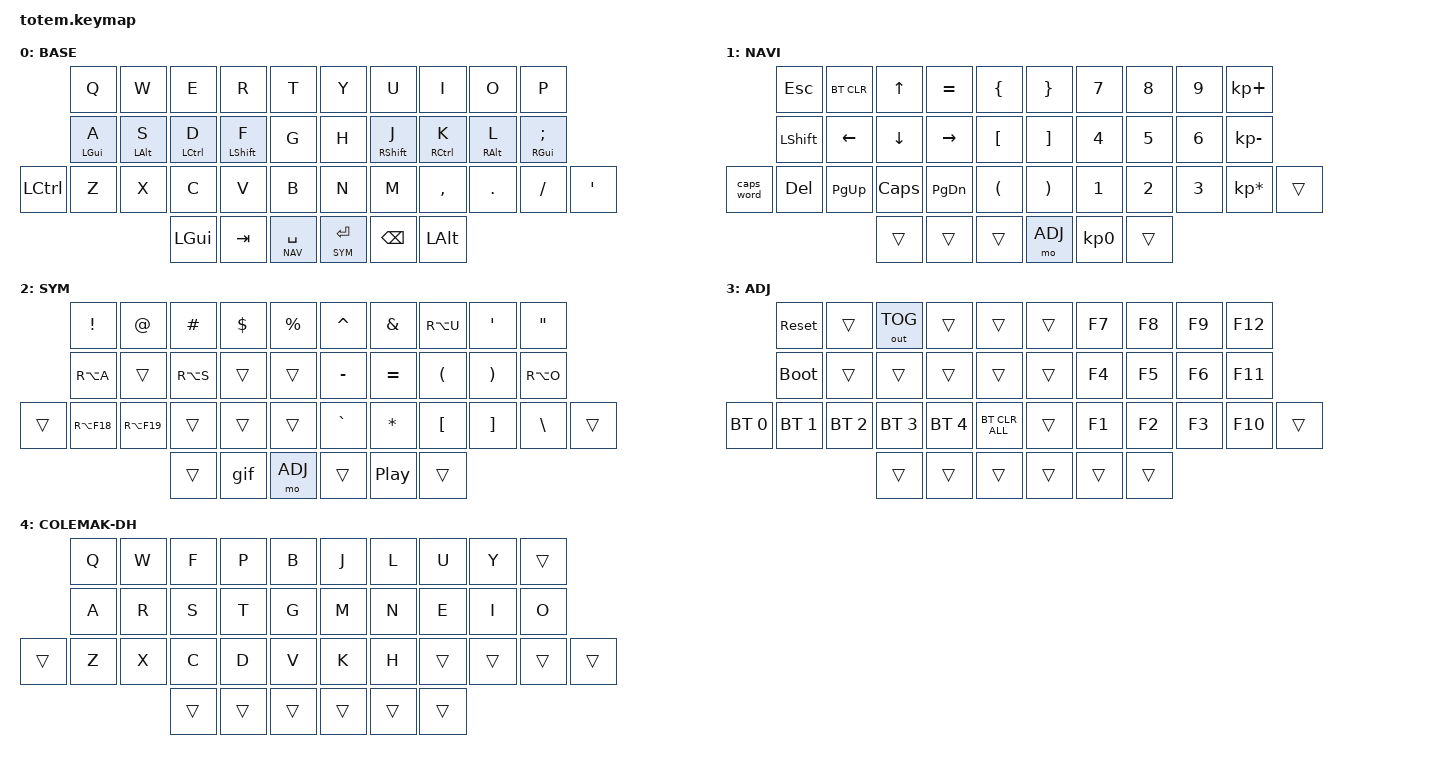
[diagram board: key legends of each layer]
//
//                                                        ▀▀▀▀▀     ▀▀▀▀▀          ▀▀█▀▀
//                                                        ▄▀▀▀▄  ▄  ▄▀▀▀▄  ▄  ▄▀▀▀▄  █  ▄▀▀▀▄
//                                                        █   █  █  █   █  █  █   █  █  █   █
//                                                         ▀▀▀   █   ▀▀▀   █   ▀▀▀   ▀   ▀▀▀
//                                                               █      ▄▄▄█▄▄▄    █   █  
//                                                               ▀      █  █  █     █▄█
//                                                             ▀▀▀▀▀    █  █  █      ▀
//                                                                      ▀  ▀  ▀
//
// ▄▄▄▄▄▄▄▄▄▄▄▄▄▄▄▄▄▄▄▄▄▄▄▄▄▄▄▄▄▄▄▄▄▄▄▄▄▄▄▄▄▄▄▄▄▄▄▄▄▄▄▄▄▄▄▄▄▄▄▄▄▄▄▄▄▄▄▄▄▄▄▄▄▄▄▄▄▄▄▄▄▄▄▄▄▄▄▄▄▄▄▄▄▄▄▄▄▄▄▄▄▄▄▄▄▄▄▄▄▄▄▄▄▄▄▄▄▄▄▄▄▄▄▄▄▄▄▄▄▄▄▄▄▄▄▄▄▄▄▄▄▄▄▄▄▄▄▄▄

#include <behaviors.dtsi>
#include <dt-bindings/zmk/bt.h>
#include <dt-bindings/zmk/keys.h>
#include <dt-bindings/zmk/outputs.h>

#define BASE 0
#define NAV  1
#define SYM  2
#define ADJ  3

&mt {
    quick-tap-ms = <100>;
    global-quick-tap;
    flavor = "tap-preferred";
    tapping-term-ms = <170>;
};

/ {
    combos {
        compatible = "zmk,combos";

        combo_esc {
            timeout-ms = <50>;
            key-positions = <0 1>;
            bindings = <&kp ESC>;
        };
    };

    macros {
        gif: gif {
            label = "giphy";
            compatible = "zmk,behavior-macro";
            #binding-cells = <0>;
            bindings =
                <&macro_press>,
                <&kp LSHFT>,
                <&macro_tap>,
                <&kp N2>,
                <&macro_release>,
                <&kp LSHFT>,
                <&macro_tap>,
                <&kp G &kp I &kp F>;
        };
    };

    keymap {
        compatible = "zmk,keymap";

        // ▄▄▄▄▄▄▄▄▄▄▄▄▄▄▄▄▄▄▄▄▄▄▄▄▄▄▄▄▄▄▄▄▄▄▄▄▄▄▄▄▄▄▄▄▄▄▄▄▄▄▄▄▄▄▄▄▄▄▄▄▄▄▄▄▄▄▄▄▄▄▄▄▄▄▄▄▄▄▄▄▄▄▄▄▄▄▄▄▄▄▄▄▄▄▄▄▄▄▄▄▄▄▄▄▄▄▄▄▄▄▄▄▄▄▄▄▄▄▄▄▄▄▄▄▄▄▄▄▄▄▄▄▄▄▄▄▄▄▄▄▄▄▄▄▄▄▄▄▄

        base_layer {
            // ┏━━━━━━━━━━━━━━━━━━━━━━━━━━━━━━━━━━━━━━━┓

            label = "BASE";

            // ┗━━━━━━━━━━━━━━━━━━━━━━━━━━━━━━━━━━━━━━━┛
            //             ┏━━━━━━━━━━━┳━━━━━━━━━━━┳━━━━━━━━━━━┳━━━━━━━━━━━┳━━━━━━━━━━━┓   ┏━━━━━━━━━━━┳━━━━━━━━━━━┳━━━━━━━━━━━┳━━━━━━━━━━━┳━━━━━━━━━━━┓
            //             ┃     Q     ┃     W     ┃     F     ┃     P     ┃     G     ┃   ┃     J     ┃     L     ┃     U     ┃     Y     ┃     ;     ┃
            //             ┣━━━━━━━━━━━╋━━━━━━━━━━━╋━━━━━━━━━━━╋━━━━━━━━━━━╋━━━━━━━━━━━┫   ┣━━━━━━━━━━━╋━━━━━━━━━━━╋━━━━━━━━━━━╋━━━━━━━━━━━╋━━━━━━━━━━━┫
            //             ┃     A     ┃     R     ┃     S     ┃     T     ┃     D     ┃   ┃     H     ┃     N     ┃     E     ┃     I     ┃     O     ┃
            // ┏━━━━━━━━━━━╋━━━━━━━━━━━╋━━━━━━━━━━━╋━━━━━━━━━━━╋━━━━━━━━━━━╋━━━━━━━━━━━┫   ┣━━━━━━━━━━━╋━━━━━━━━━━━╋━━━━━━━━━━━╋━━━━━━━━━━━╋━━━━━━━━━━━╋━━━━━━━━━━━┓
            // ┃           ┃     Z     ┃     X     ┃     C     ┃     V     ┃     B     ┃   ┃     K     ┃     M     ┃     ,     ┃     .     ┃     /     ┃           ┃
            // ┗━━━━━━━━━━━┻━━━━━━━━━━━┻━━━━━━━━━━━╋━━━━━━━━━━━╋━━━━━━━━━━━╋━━━━━━━━━━━┫   ┣━━━━━━━━━━━╋━━━━━━━━━━━╋━━━━━━━━━━━╋━━━━━━━━━━━┻━━━━━━━━━━━┻━━━━━━━━━━━┛
            //                                     ┃           ┃    TAB    ┃    SPC    ┃   ┃   ENTER   ┃   BSPC    ┃           ┃
            //                                     ┗━━━━━━━━━━━┻━━━━━━━━━━━┻━━━━━━━━━━━┛   ┗━━━━━━━━━━━┻━━━━━━━━━━━┻━━━━━━━━━━━┛

            bindings = <
                  &kp Q       &kp W       &kp E         &kp R        &kp T            &kp Y        &kp U        &kp I         &kp O       &kp P
                  &mt LGUI A  &mt LALT S  &mt LCTRL D   &mt LSHFT F  &kp G            &kp H        &mt RSHFT J  &mt RCTRL K   &mt RALT L  &mt RGUI SEMI
&kp LEFT_CONTROL  &kp Z       &kp X       &kp C         &kp V        &kp B            &kp N        &kp M        &kp COMMA     &kp DOT     &kp SLASH      &kp APOS
                                          &kp LEFT_GUI  &kp TAB      &lt NAV SPACE    &lt SYM RET  &kp BSPC     &kp LEFT_ALT
            >;
        };

        // ▄▄▄▄▄▄▄▄▄▄▄▄▄▄▄▄▄▄▄▄▄▄▄▄▄▄▄▄▄▄▄▄▄▄▄▄▄▄▄▄▄▄▄▄▄▄▄▄▄▄▄▄▄▄▄▄▄▄▄▄▄▄▄▄▄▄▄▄▄▄▄▄▄▄▄▄▄▄▄▄▄▄▄▄▄▄▄▄▄▄▄▄▄▄▄▄▄▄▄▄▄▄▄▄▄▄▄▄▄▄▄▄▄▄▄▄▄▄▄▄▄▄▄▄▄▄▄▄▄▄▄▄▄▄▄▄▄▄▄▄▄▄▄▄▄▄▄▄▄

        nav_layer {
            // ┏━━━━━━━━━━━━━━━━━━━━━━━━━━━━━━━━━━━━━━━┓

            label = "NAVI";

            // ┗━━━━━━━━━━━━━━━━━━━━━━━━━━━━━━━━━━━━━━━┛
            //             ┏━━━━━━━━━━━┳━━━━━━━━━━━┳━━━━━━━━━━━┳━━━━━━━━━━━┳━━━━━━━━━━━┓   ┏━━━━━━━━━━━┳━━━━━━━━━━━┳━━━━━━━━━━━┳━━━━━━━━━━━┳━━━━━━━━━━━┓
            //             ┃           ┃           ┃     UP    ┃           ┃     {     ┃   ┃     }     ┃     7     ┃     8     ┃     9     ┃     +     ┃
            //             ┣━━━━━━━━━━━╋━━━━━━━━━━━╋━━━━━━━━━━━╋━━━━━━━━━━━╋━━━━━━━━━━━┫   ┣━━━━━━━━━━━╋━━━━━━━━━━━╋━━━━━━━━━━━╋━━━━━━━━━━━╋━━━━━━━━━━━┫
            //             ┃   SHIFT   ┃   LEFT    ┃    DOWN   ┃   RIGHT   ┃     [     ┃   ┃     ]     ┃     4     ┃     5     ┃     6     ┃     -     ┃
            // ┏━━━━━━━━━━━╋━━━━━━━━━━━╋━━━━━━━━━━━╋━━━━━━━━━━━╋━━━━━━━━━━━╋━━━━━━━━━━━┫   ┣━━━━━━━━━━━╋━━━━━━━━━━━╋━━━━━━━━━━━╋━━━━━━━━━━━╋━━━━━━━━━━━╋━━━━━━━━━━━┓
            // ┃           ┃           ┃   P UP    ┃  C LOCK   ┃  P DOWN   ┃     (     ┃   ┃     )     ┃     1     ┃     2     ┃     3     ┃     *     ┃           ┃
            // ┗━━━━━━━━━━━┻━━━━━━━━━━━┻━━━━━━━━━━━╋━━━━━━━━━━━╋━━━━━━━━━━━╋━━━━━━━━━━━┫   ┣━━━━━━━━━━━╋━━━━━━━━━━━╋━━━━━━━━━━━╋━━━━━━━━━━━┻━━━━━━━━━━━┻━━━━━━━━━━━┛
            //                                     ┃           ┃    TAB    ┃    SPC    ┃   ┃    DEL    ┃     0     ┃           ┃
            //                                     ┗━━━━━━━━━━━┻━━━━━━━━━━━┻━━━━━━━━━━━┛   ┗━━━━━━━━━━━┻━━━━━━━━━━━┻━━━━━━━━━━━┛

            bindings = <
            &kp ESC    &bt BT_CLR  &kp UP    &kp EQUAL  &kp LBRC    &kp RBRC  &kp N7        &kp N8        &kp N9        &kp KP_PLUS
            &kp LSHFT  &kp LEFT    &kp DOWN  &kp RIGHT  &kp LBKT    &kp RBKT  &kp NUMBER_4  &kp N5        &kp NUMBER_6  &kp KP_MINUS
&caps_word  &kp DEL    &kp PG_UP   &kp CAPS  &kp PG_DN  &kp LPAR    &kp RPAR  &kp NUMBER_1  &kp NUMBER_2  &kp NUMBER_3  &kp KP_MULTIPLY  &trans
                                   &trans    &trans     &trans      &mo ADJ   &kp KP_N0     &trans
            >;
        };

        // ▄▄▄▄▄▄▄▄▄▄▄▄▄▄▄▄▄▄▄▄▄▄▄▄▄▄▄▄▄▄▄▄▄▄▄▄▄▄▄▄▄▄▄▄▄▄▄▄▄▄▄▄▄▄▄▄▄▄▄▄▄▄▄▄▄▄▄▄▄▄▄▄▄▄▄▄▄▄▄▄▄▄▄▄▄▄▄▄▄▄▄▄▄▄▄▄▄▄▄▄▄▄▄▄▄▄▄▄▄▄▄▄▄▄▄▄▄▄▄▄▄▄▄▄▄▄▄▄▄▄▄▄▄▄▄▄▄▄▄▄▄▄▄▄▄▄▄▄▄

        sim_layer {
            // ┏━━━━━━━━━━━━━━━━━━━━━━━━━━━━━━━━━━━━━━━┓

            label = "SYM";

            // ┗━━━━━━━━━━━━━━━━━━━━━━━━━━━━━━━━━━━━━━━┛
            //             ┏━━━━━━━━━━━┳━━━━━━━━━━━┳━━━━━━━━━━━┳━━━━━━━━━━━┳━━━━━━━━━━━┓   ┏━━━━━━━━━━━┳━━━━━━━━━━━┳━━━━━━━━━━━┳━━━━━━━━━━━┳━━━━━━━━━━━┓
            //             ┃     !     ┃     @     ┃     #     ┃     $     ┃     %     ┃   ┃     ˆ     ┃     &     ┃     Ü     ┃     '     ┃     "     ┃
            //             ┣━━━━━━━━━━━╋━━━━━━━━━━━╋━━━━━━━━━━━╋━━━━━━━━━━━╋━━━━━━━━━━━┫   ┣━━━━━━━━━━━╋━━━━━━━━━━━╋━━━━━━━━━━━╋━━━━━━━━━━━╋━━━━━━━━━━━┫
            //             ┃     Ä     ┃           ┃    SZ     ┃           ┃           ┃   ┃   MUTE    ┃   YEN     ┃   EURO    ┃  POUND    ┃     Ö     ┃
            // ┏━━━━━━━━━━━╋━━━━━━━━━━━╋━━━━━━━━━━━╋━━━━━━━━━━━╋━━━━━━━━━━━╋━━━━━━━━━━━┫   ┣━━━━━━━━━━━╋━━━━━━━━━━━╋━━━━━━━━━━━╋━━━━━━━━━━━╋━━━━━━━━━━━╋━━━━━━━━━━━┓
            // ┃           ┃  EMAIL1   ┃  EMAIL2   ┃           ┃           ┃           ┃   ┃   VOL-    ┃   VOL+    ┃   LAST    ┃   NEXT    ┃     \     ┃           ┃
            // ┗━━━━━━━━━━━┻━━━━━━━━━━━┻━━━━━━━━━━━╋━━━━━━━━━━━╋━━━━━━━━━━━╋━━━━━━━━━━━┫   ┣━━━━━━━━━━━╋━━━━━━━━━━━╋━━━━━━━━━━━╋━━━━━━━━━━━┻━━━━━━━━━━━┻━━━━━━━━━━━┛
            //                                     ┃           ┃    GIF    ┃    ADJ    ┃   ┃           ┃           ┃           ┃
            //                                     ┗━━━━━━━━━━━┻━━━━━━━━━━━┻━━━━━━━━━━━┛   ┗━━━━━━━━━━━┻━━━━━━━━━━━┻━━━━━━━━━━━┛

            bindings = <
        &kp EXCL     &kp AT       &kp HASH   &kp DLLR  &kp PRCNT    &kp CARET  &kp AMPS      &kp RA(U)             &kp SQT                &kp DQT
        &kp RA(A)    &trans       &kp RA(S)  &trans    &trans       &kp MINUS  &kp EQUAL     &kp LEFT_PARENTHESIS  &kp RIGHT_PARENTHESIS  &kp RA(O)
&trans  &kp RA(F18)  &kp RA(F19)  &trans     &trans    &trans       &kp GRAVE  &kp ASTERISK  &kp LEFT_BRACKET      &kp RIGHT_BRACKET      &kp BSLH   &trans
                                  &trans     &gif      &mo ADJ      &trans     &kp C_PP      &trans
            >;
        };

        // ▄▄▄▄▄▄▄▄▄▄▄▄▄▄▄▄▄▄▄▄▄▄▄▄▄▄▄▄▄▄▄▄▄▄▄▄▄▄▄▄▄▄▄▄▄▄▄▄▄▄▄▄▄▄▄▄▄▄▄▄▄▄▄▄▄▄▄▄▄▄▄▄▄▄▄▄▄▄▄▄▄▄▄▄▄▄▄▄▄▄▄▄▄▄▄▄▄▄▄▄▄▄▄▄▄▄▄▄▄▄▄▄▄▄▄▄▄▄▄▄▄▄▄▄▄▄▄▄▄▄▄▄▄▄▄▄▄▄▄▄▄▄▄▄▄▄▄▄▄

        adjust_layer {
            // ┏━━━━━━━━━━━━━━━━━━━━━━━━━━━━━━━━━━━━━━━┓

            label = "ADJ";

            // ┗━━━━━━━━━━━━━━━━━━━━━━━━━━━━━━━━━━━━━━━┛
            //             ┏━━━━━━━━━━━┳━━━━━━━━━━━┳━━━━━━━━━━━┳━━━━━━━━━━━┳━━━━━━━━━━━┓   ┏━━━━━━━━━━━┳━━━━━━━━━━━┳━━━━━━━━━━━┳━━━━━━━━━━━┳━━━━━━━━━━━┓
            //             ┃   RESET   ┃ BT CLEAR  ┃  OUT TOG  ┃           ┃           ┃   ┃           ┃    F7     ┃    F8     ┃    F9     ┃    F12    ┃
            //             ┣━━━━━━━━━━━╋━━━━━━━━━━━╋━━━━━━━━━━━╋━━━━━━━━━━━╋━━━━━━━━━━━┫   ┣━━━━━━━━━━━╋━━━━━━━━━━━╋━━━━━━━━━━━╋━━━━━━━━━━━╋━━━━━━━━━━━┫
            //             ┃ BOOTLOAD  ┃ BT NEXT   ┃           ┃           ┃           ┃   ┃           ┃    F4     ┃    F5     ┃    F6     ┃    F11    ┃
            // ┏━━━━━━━━━━━╋━━━━━━━━━━━╋━━━━━━━━━━━╋━━━━━━━━━━━╋━━━━━━━━━━━╋━━━━━━━━━━━┫   ┣━━━━━━━━━━━╋━━━━━━━━━━━╋━━━━━━━━━━━╋━━━━━━━━━━━╋━━━━━━━━━━━╋━━━━━━━━━━━┓
            // ┃           ┃           ┃ BT PREV   ┃           ┃           ┃           ┃   ┃           ┃    F1     ┃    F2     ┃    F3     ┃    F10    ┃           ┃
            // ┗━━━━━━━━━━━┻━━━━━━━━━━━┻━━━━━━━━━━━╋━━━━━━━━━━━╋━━━━━━━━━━━╋━━━━━━━━━━━┫   ┣━━━━━━━━━━━╋━━━━━━━━━━━╋━━━━━━━━━━━╋━━━━━━━━━━━┻━━━━━━━━━━━┻━━━━━━━━━━━┛
            //                                     ┃           ┃           ┃           ┃   ┃           ┃           ┃           ┃
            //                                     ┗━━━━━━━━━━━┻━━━━━━━━━━━┻━━━━━━━━━━━┛   ┗━━━━━━━━━━━┻━━━━━━━━━━━┻━━━━━━━━━━━┛

            bindings = <
              &sys_reset    &trans        &out OUT_TOG  &trans        &trans            &trans  &kp F7  &kp F8  &kp F9  &kp F12
              &bootloader   &trans        &trans        &trans        &trans            &trans  &kp F4  &kp F5  &kp F6  &kp F11
&bt BT_SEL 0  &bt BT_SEL 1  &bt BT_SEL 2  &bt BT_SEL 3  &bt BT_SEL 4  &bt BT_CLR_ALL    &trans  &kp F1  &kp F2  &kp F3  &kp F10  &trans
                                          &trans        &trans        &trans            &trans  &trans  &trans
            >;
        };

        COLEMAK-DH {
            bindings = <
        &kp Q  &kp W  &kp F   &kp P   &kp B     &kp J   &kp L   &kp U   &kp Y   &trans
        &kp A  &kp R  &kp S   &kp T   &kp G     &kp M   &kp N   &kp E   &kp I   &kp O
&trans  &kp Z  &kp X  &kp C   &kp D   &kp V     &kp K   &kp H   &trans  &trans  &trans  &trans
                      &trans  &trans  &trans    &trans  &trans  &trans
            >;
        };
    };
};
